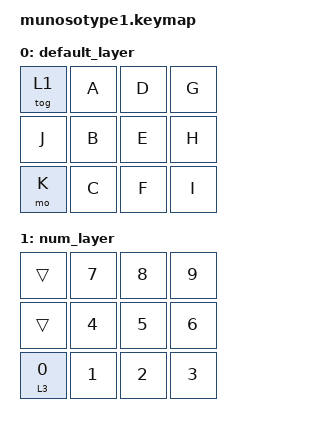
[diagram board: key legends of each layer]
/*
 * Copyright (c) 2020 The ZMK Contributors
 *
 * SPDX-License-Identifier: MIT
 */

#include <behaviors.dtsi>
#include <dt-bindings/zmk/keys.h>
#include <dt-bindings/zmk/bt.h>

/ {
    keymap {
        compatible = "zmk,keymap";

        default_layer {

            bindings = <
    &tog 1 &kp A &kp D &kp G
    &kp J  &kp B &kp E &kp H
    &mo K  &kp C &kp F &kp I
            >;

        };

        num_layer {
            bindings = <
    &trans   &kp N7 &kp N8 &kp N9
    &trans   &kp N4 &kp N5 &kp N6
    &lt 3 N0 &kp N1 &kp N2 &kp N3
            >;
        };
    };
};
